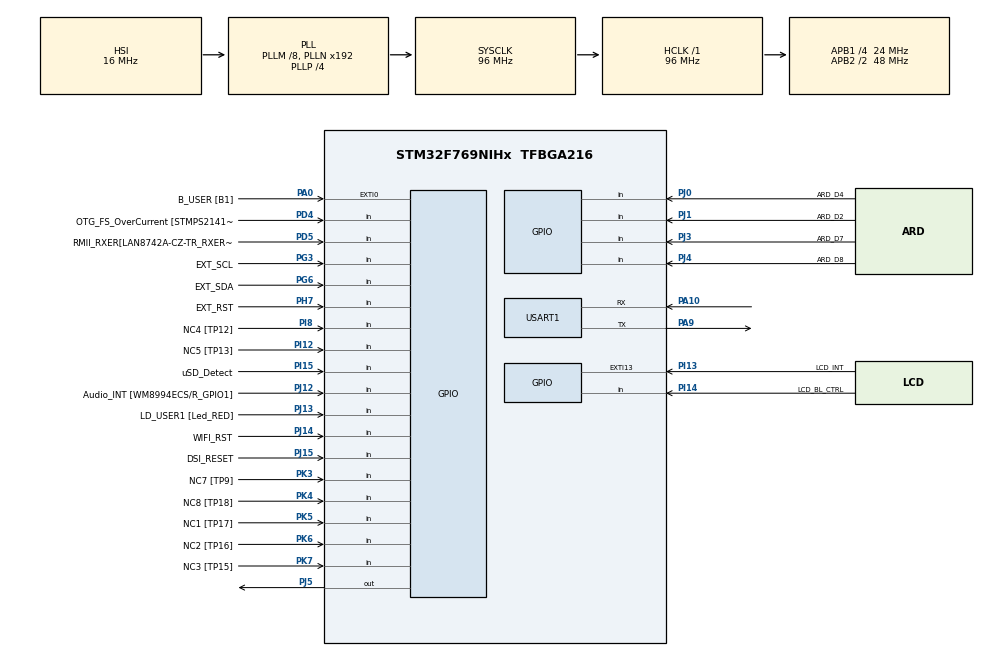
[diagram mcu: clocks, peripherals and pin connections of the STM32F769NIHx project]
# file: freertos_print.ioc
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DSIHOST_CKN.GPIO_Label=DSI_CK_N
DSIHOST_CKN.Signal=DSIHOST_CKN
DSIHOST_CKP.GPIO_Label=DSI_CK_P
DSIHOST_CKP.Signal=DSIHOST_CKP
DSIHOST_D0N.GPIO_Label=DSI_D0_N
DSIHOST_D0N.Signal=DSIHOST_D0N
DSIHOST_D0P.GPIO_Label=DSI_D0_p
DSIHOST_D0P.Signal=DSIHOST_D0P
DSIHOST_D1N.GPIO_Label=DSI_D1_N
DSIHOST_D1N.Signal=DSIHOST_D1N
DSIHOST_D1P.GPIO_Label=DSI_D1_P
DSIHOST_D1P.Signal=DSIHOST_D1P
FREERTOS.Tasks01=defaultTask,0,128,StartDefaultTask,Default,NULL
Mcu.Family=STM32F7
Mcu.Name=STM32F769NIHx
Mcu.Package=TFBGA216
NVIC.PriorityGroup=NVIC_PRIORITYGROUP_4
NVIC.TIM2_IRQn=true\:0\:0\:false\:false\:true\:false\:false\:true
NVIC.TimeBase=TIM2_IRQn
NVIC.TimeBaseIP=TIM2
PA0/WKUP.GPIO_Label=B_USER [B1]
PA0/WKUP.Signal=GPXTI0
PA1.GPIO_Label=RMII_REF_CLK [LAN8742A-CZ-TR_REFCLK0]
PA1.Signal=ETH_REF_CLK
PA10.Mode=Asynchronous
PA10.Signal=USART1_RX
PA11.GPIO_Label=SPI2_NSS
PA11.Signal=SPI2_NSS
PA12.GPIO_Label=ARD_D13/SCK
PA12.GPIO_Mode=GPIO_MODE_AF_PP
PA12.GPIO_PuPd=GPIO_NOPULL
PA12.GPIO_Speed=GPIO_SPEED_FREQ_LOW
PA12.Signal=SPI2_SCK
PA13.GPIO_Label=SWDIO
PA13.Signal=SYS_JTMS-SWDIO
PA14.GPIO_Label=SWCLK
PA14.Signal=SYS_JTCK-SWCLK
PA15.GPIO_Label=CEC
PA15.Signal=CEC
PA2.GPIO_Label=RMII_MDIO [LAN8742A-CZ-TR_MDIO]
PA2.Signal=ETH_MDIO
PA3.GPIO_Label=ULPI_D0 [USB3320C-EZK_D0]
PA3.Signal=USB_OTG_HS_ULPI_D0
PA4.GPIO_Label=ARD_A1
PA4.Signal=ADCx_IN4
PA5.GPIO_Label=ULPI_CLK [USB3320C-EZK_CLKOUT]
PA5.Signal=USB_OTG_HS_ULPI_CK
PA6.GPIO_Label=ARD_A0
PA6.Signal=ADCx_IN6
PA7.GPIO_Label=RMII_CRS_DV [LAN8742A-CZ-TR_CRS_DV]
PA7.Signal=ETH_CRS_DV
PA8.GPIO_Label=CEC_CLK [TP2]
PA8.Signal=RCC_MCO_1
PA9.Mode=Asynchronous
PA9.Signal=USART1_TX
PB0.GPIO_Label=ULPI_D1 [USB3320C-EZK_D1]
PB0.Signal=USB_OTG_HS_ULPI_D1
PB1.GPIO_Label=ULPI_D2 [USB3320C-EZK_D2]
PB1.Signal=USB_OTG_HS_ULPI_D2
PB10.GPIO_Label=ULPI_D3 [USB3320C-EZK_D3]
PB10.Signal=USB_OTG_HS_ULPI_D3
PB11.GPIO_Label=ULPI_D4 [USB3320C-EZK_D4]
PB11.Signal=USB_OTG_HS_ULPI_D4
PB12.GPIO_Label=ULPI_D5 [USB3320C-EZK_D5]
PB12.Signal=USB_OTG_HS_ULPI_D5
PB13.GPIO_Label=ULPI_D6 [USB3320C-EZK_D6]
PB13.Signal=USB_OTG_HS_ULPI_D6
PB14.GPIO_Label=ARDUINO MISO/D12
PB14.GPIO_Mode=GPIO_MODE_AF_PP
PB14.GPIO_PuPd=GPIO_NOPULL
PB14.GPIO_Speed=GPIO_SPEED_FREQ_LOW
PB14.Signal=SPI2_MISO
PB15.GPIO_Label=ARDUINO MOSI/PWM/D11
PB15.GPIO_Mode=GPIO_MODE_AF_PP
PB15.GPIO_PuPd=GPIO_NOPULL
PB15.GPIO_Speed=GPIO_SPEED_FREQ_LOW
PB15.Signal=SPI2_MOSI
PB2.Signal=QUADSPI_CLK
PB3.GPIO_Label=uSD_D2
PB3.Signal=SDMMC2_D2
PB4.GPIO_Label=uSD_D3
PB4.Signal=SDMMC2_D3
PB5.GPIO_Label=ULPI_D7 [USB3320C-EZK_D7]
PB5.Signal=USB_OTG_HS_ULPI_D7
PB6.GPIO_Label=QSPI_NCS [N25Q128A13EF840E_S]
PB6.Signal=QUADSPI_BK1_NCS
PB7.GPIO_Label=AUDIO_SDA [WM8994ECS/R_SDA]
PB7.Signal=I2C4_SDA
PB8.GPIO_Label=ARDUINO SCL/D15
PB8.GPIO_Mode=GPIO_MODE_AF_OD
PB8.GPIO_PuPd=GPIO_NOPULL
PB8.GPIO_Speed=GPIO_SPEED_FREQ_LOW
PB8.Signal=I2C1_SCL
PB9.GPIO_Label=ARDUINO SDA/D14
PB9.GPIO_Mode=GPIO_MODE_AF_OD
PB9.GPIO_PuPd=GPIO_NOPULL
PB9.GPIO_Speed=GPIO_SPEED_FREQ_LOW
PB9.Signal=I2C1_SDA
PC0.GPIO_Label=ULPI_STP [USB3320C-EZK_STP]
PC0.Signal=USB_OTG_HS_ULPI_STP
PC1.GPIO_Label=RMII_MDC [LAN8742A-CZ-TR_MDC]
PC1.Signal=ETH_MDC
PC10.GPIO_Label=QSPI_D1 [MT25QL512ABB1EW9_DQ1]
PC10.Signal=QUADSPI_BK1_IO1
PC11.GPIO_Label=DFSDM_DATIN5 [TP100]
PC11.Signal=S_DATAIN5DFSDM1
PC12.GPIO_Label=WIFI_RX
PC12.Signal=UART5_TX
PC13.Signal=RTC_OUT_ALARM
PC14/OSC32_IN.GPIO_Label=RCC_OSC32_IN
PC14/OSC32_IN.Signal=RCC_OSC32_IN
PC15/OSC32_OUT.GPIO_Label=RCC_OSC32_OUT
PC15/OSC32_OUT.Signal=RCC_OSC32_OUT
PC2.GPIO_Label=ARD_A2
PC2.Signal=ADCx_IN12
PC3.GPIO_Label=DFSDM_DATIN1 [TP101]
PC3.Signal=S_DATAIN1DFSDM1
PC4.GPIO_Label=RMII_RXD0 [LAN8742A-CZ-TR_RXD0]
PC4.Signal=ETH_RXD0
PC5.GPIO_Label=RMII_RXD1 [LAN8742A-CZ-TR_RXD1]
PC5.Signal=ETH_RXD1
PC6.GPIO_Label=ARDUINO TX/D1
PC6.Signal=USART6_TX
PC7.GPIO_Label=ARD_D0/RX
PC7.Signal=USART6_RX
PC8.GPIO_Label=ARD_D5/PWM
PC8.Signal=S_TIM3_CH3
PC9.GPIO_Label=QSPI_D0 [N25Q128A13EF840E_DQ0]
PC9.Signal=QUADSPI_BK1_IO0
PD0.GPIO_Label=FMC_D2 [MT48LC4M32B2B5-6A_DQ2]
PD0.Signal=FMC_D2_DA2
PD1.GPIO_Label=FMC_D3 [MT48LC4M32B2B5-6A_DQ3]
PD1.Signal=FMC_D3_DA3
PD10.GPIO_Label=FMC_D15 [MT48LC4M32B2B5-6A_DQ15]
PD10.Signal=FMC_D15_DA15
PD11.GPIO_Label=SPDIF_TX [TP20]
PD11.Signal=SAI2_SD_A
PD12.GPIO_Label=AUDIO_SCL [WM8994ECS/R_SCLK]
PD12.Signal=I2C4_SCL
PD13.GPIO_Label=QSPI_D3 [N25Q128A13EF840E_DQ3]
PD13.Signal=QUADSPI_BK1_IO3
PD14.GPIO_Label=FMC_D0 [MT48LC4M32B2B5-6A_DQ0]
PD14.Signal=FMC_D0_DA0
PD15.GPIO_Label=FMC_D1 [MT48LC4M32B2B5-6A_DQ1]
PD15.Signal=FMC_D1_DA1
PD2.GPIO_Label=WIFI_TX
PD2.Signal=UART5_RX
PD3.GPIO_Label=DFSDM_CKOUT [TP102]
PD3.Signal=S_CKOUTDFSDM1
PD4.GPIO_Label=OTG_FS_OverCurrent [STMPS2141STR_Fault]
PD4.Signal=GPIO_Input
PD5.GPIO_Label=RMII_RXER[LAN8742A-CZ-TR_RXERR]
PD5.Signal=GPIO_Input
PD6.GPIO_Label=uSD_CLK
PD6.Signal=SDMMC2_CK
PD7.GPIO_Label=uSD_CMD
PD7.Signal=SDMMC2_CMD
PD8.GPIO_Label=FMC_D13 [MT48LC4M32B2B5-6A_DQ13]
PD8.Signal=FMC_D13_DA13
PD9.GPIO_Label=FMC_D14 [MT48LC4M32B2B5-6A_DQ14]
PD9.Signal=FMC_D14_DA14
PE0.GPIO_Label=FMC_NBL0 [MT48LC4M32B2B5-6A_DQM0]
PE0.Signal=FMC_NBL0
PE1.GPIO_Label=FMC_NBL1 [MT48LC4M32B2B5-6A_DQM1]
PE1.Signal=FMC_NBL1
PE10.GPIO_Label=FMC_D7 [MT48LC4M32B2B5-6A_DQ7]
PE10.Signal=FMC_D7_DA7
PE11.GPIO_Label=FMC_D8 [MT48LC4M32B2B5-6A_DQ8]
PE11.Signal=FMC_D8_DA8
PE12.GPIO_Label=FMC_D9 [MT48LC4M32B2B5-6A_DQ9]
PE12.Signal=FMC_D9_DA9
PE13.GPIO_Label=FMC_D10 [MT48LC4M32B2B5-6A_DQ10]
PE13.Signal=FMC_D10_DA10
PE14.GPIO_Label=FMC_D11 [MT48LC4M32B2B5-6A_DQ11]
PE14.Signal=FMC_D11_DA11
PE15.GPIO_Label=FMC_D12 [MT48LC4M32B2B5-6A_DQ12]
PE15.Signal=FMC_D12_DA12
PE2.GPIO_Label=QSPI_D2 [N25Q128A13EF840E_DQ2]
PE2.Signal=QUADSPI_BK1_IO2
PE3.GPIO_Label=SAI1_SDB [WM8994ECS/R_ADCDAT1]
PE3.Signal=SAI1_SD_B
PE4.GPIO_Label=SAI1_FSA [WM8994ECS/R_LRCLK1]
PE4.Signal=SAI1_FS_A
PE5.GPIO_Label=SAI1_SCKA [WM8994ECS/R_BCLK1]
PE5.Signal=SAI1_SCK_A
PE6.GPIO_Label=SAI1_SDA [WM8994ECS/R_DACDAT1]
PE6.Signal=SAI1_SD_A
PE7.GPIO_Label=FMC_D4 [MT48LC4M32B2B5-6A_DQ4]
PE7.Signal=FMC_D4_DA4
PE8.GPIO_Label=FMC_D5 [MT48LC4M32B2B5-6A_DQ5]
PE8.Signal=FMC_D5_DA5
PE9.GPIO_Label=FMC_D6 [MT48LC4M32B2B5-6A_DQ6]
PE9.Signal=FMC_D6_DA6
PF0.GPIO_Label=FMC_A0 [MT48LC4M32B2B5-6A_A0]
PF0.Signal=FMC_A0
PF1.GPIO_Label=FMC_A1 [MT48LC4M32B2B5-6A_A1]
PF1.Signal=FMC_A1
PF10.GPIO_Label=ARDUINO A1
PF10.GPIO_Mode=GPIO_MODE_ANALOG
PF10.GPIO_PuPd=GPIO_NOPULL
PF10.Signal=ADC3_IN8
PF11.GPIO_Label=FMC_SDNRAS [MT48LC4M32B2B5-6A_RAS]
PF11.Signal=FMC_SDNRAS
PF12.GPIO_Label=FMC_A6 [MT48LC4M32B2B5-6A_A6]
PF12.Signal=FMC_A6
PF13.GPIO_Label=FMC_A7 [MT48LC4M32B2B5-6A_A7]
PF13.Signal=FMC_A7
PF14.GPIO_Label=FMC_A8 [MT48LC4M32B2B5-6A_A8]
PF14.Signal=FMC_A8
PF15.GPIO_Label=FMC_A9 [MT48LC4M32B2B5-6A_A9]
PF15.Signal=FMC_A9
PF2.GPIO_Label=FMC_A2 [MT48LC4M32B2B5-6A_A2]
PF2.Signal=FMC_A2
PF3.GPIO_Label=FMC_A3 [MT48LC4M32B2B5-6A_A3]
PF3.Signal=FMC_A3
PF4.GPIO_Label=FMC_A4 [MT48LC4M32B2B5-6A_A4]
PF4.Signal=FMC_A4
PF5.GPIO_Label=FMC_A5 [MT48LC4M32B2B5-6A_A5]
PF5.Signal=FMC_A5
PF6.GPIO_Label=ARD_D3/PWM
PF6.Signal=S_TIM10_CH1
PF7.GPIO_Label=ARD_D6/PWM
PF7.Signal=S_TIM11_CH1
PF8.GPIO_Label=ARDUINO A3
PF8.GPIO_Mode=GPIO_MODE_ANALOG
PF8.GPIO_PuPd=GPIO_NOPULL
PF8.Signal=ADC3_IN6
PF9.GPIO_Label=ARDUINO A2
PF9.GPIO_Mode=GPIO_MODE_ANALOG
PF9.GPIO_PuPd=GPIO_NOPULL
PF9.Signal=ADC3_IN7
PG0.GPIO_Label=FMC_A10 [MT48LC4M32B2B5-6A_A10]
PG0.Signal=FMC_A10
PG1.GPIO_Label=FMC_A11 [MT48LC4M32B2B5-6A_A11]
PG1.Signal=FMC_A11
PG10.GPIO_Label=uSD_D1
PG10.Signal=SDMMC2_D1
PG11.GPIO_Label=RMII_TX_EN [LAN8742A-CZ-TR_TXEN]
PG11.Signal=ETH_TX_EN
PG12.GPIO_Label=SPDIF_RX [74LVC1G04SE_4]
PG12.Signal=SPDIFRX_IN1
PG13.GPIO_Label=RMII_TXD0 [LAN8742A-CZ-TR_TXD0]
PG13.Signal=ETH_TXD0
PG14.GPIO_Label=RMII_TXD1 [LAN8742A-CZ-TR_TXD1]
PG14.Signal=ETH_TXD1
PG15.GPIO_Label=FMC_SDNCAS [MT48LC4M32B2B5-6A_CAS]
PG15.Signal=FMC_SDNCAS
PG2.GPIO_Label=FMC_A12
PG2.Signal=FMC_A12
PG3.GPIO_Label=EXT_SCL
PG3.Signal=GPIO_Input
PG4.GPIO_Label=FMC_BA0 [MT48LC4M32B2B5-6A_BA0]
PG4.Signal=FMC_A14_BA0
PG5.GPIO_Label=FMC_BA1 [MT48LC4M32B2B5-6A_BA1]
PG5.Signal=FMC_A15_BA1
PG6.GPIO_Label=EXT_SDA
PG6.Signal=GPIO_Input
PG7.GPIO_Label=SAI1_MCLKA [WM8994ECS/R_MCLK1]
PG7.Signal=SAI1_MCLK_A
PG8.GPIO_Label=FMC_SDCLK [MT48LC4M32B2B5-6A_CLK]
PG8.Signal=FMC_SDCLK
PG9.GPIO_Label=uSD_D0
PG9.Signal=SDMMC2_D0
PH0/OSC_IN.GPIO_Label=OSC_25M [NZ2520SB-25.00M_OUT]
PH0/OSC_IN.Signal=RCC_OSC_IN
PH1/OSC_OUT.Signal=RCC_OSC_OUT
PH10.GPIO_Label=FMC_D18 [MT48LC4M32B2B5-6A_DQ18]
PH10.Signal=FMC_D18
PH11.GPIO_Label=FMC_D19 [MT48LC4M32B2B5-6A_DQ19]
PH11.Signal=FMC_D19
PH12.GPIO_Label=D20
PH12.Signal=FMC_D20
PH13.GPIO_Label=D21
PH13.Signal=FMC_D21
PH14.GPIO_Label=D22
PH14.Signal=FMC_D22
PH15.GPIO_Label=D23
PH15.Signal=FMC_D23
PH2.GPIO_Label=FMC_SDCKE0 [MT48LC4M32B2B5-6A_CKE]
PH2.Signal=FMC_SDCKE0
PH3.GPIO_Label=FMC_SDNE0 [MT48LC4M32B2B5-6A_CS]
PH3.Signal=FMC_SDNE0
PH4.GPIO_Label=ULPI_NXT [USB3320C-EZK_NXT]
PH4.Signal=USB_OTG_HS_ULPI_NXT
PH5.GPIO_Label=FMC_SDNME [MT48LC4M32B2B5-6A_WE]
PH5.Signal=FMC_SDNWE
PH6.GPIO_Label=ARDUINO PWM/D6
PH6.Signal=S_TIM12_CH1
PH7.GPIO_Label=EXT_RST
PH7.Signal=GPIO_Input
PH8.GPIO_Label=FMC_D16 [MT48LC4M32B2B5-6A_DQ16]
PH8.Signal=FMC_D16
PH9.GPIO_Label=FMC_D\!7 [MT48LC4M32B2B5-6A_DQ17]
PH9.Signal=FMC_D17
PI0.GPIO_Label=D24
PI0.Signal=FMC_D24
PI1.GPIO_Label=D25
PI1.Signal=FMC_D25
PI10.GPIO_Label=D31
PI10.Signal=FMC_D31
PI11.GPIO_Label=ULPI_DIR [USB3320C-EZK_DIR]
PI11.Signal=USB_OTG_HS_ULPI_DIR
PI12.GPIO_Label=NC5 [TP13]
PI12.Signal=GPIO_Input
PI13.GPIO_Label=LCD_INT
PI13.GPIO_ModeDefaultEXTI=GPIO_MODE_EVT_RISING
PI13.Signal=GPXTI13
PI14.GPIO_Label=LCD_BL_CTRL
PI14.Signal=GPIO_Input
PI15.GPIO_Label=uSD_Detect
PI15.Signal=GPIO_Input
PI2.GPIO_Label=D26
PI2.Signal=FMC_D26
PI3.GPIO_Label=D27
PI3.Signal=FMC_D27
PI4.GPIO_Label=FMC_NBL2 [MT48LC4M32B2B5-6A_DQM2]
PI4.Signal=FMC_NBL2
PI5.GPIO_Label=FMC_NBL3 [MT48LC4M32B2B5-6A_DQM3]
PI5.Signal=FMC_NBL3
PI6.GPIO_Label=D28
PI6.Signal=FMC_D28
PI7.GPIO_Label=D29
PI7.Signal=FMC_D29
PI8.GPIO_Label=NC4 [TP12]
PI8.Signal=GPIO_Input
PI9.GPIO_Label=D30
PI9.Signal=FMC_D30
PJ0.GPIO_Label=ARD_D4
PJ0.Signal=GPIO_Input
PJ1.GPIO_Label=ARD_D2
PJ1.Signal=GPIO_Input
PJ12.GPIO_Label=Audio_INT [WM8994ECS/R_GPIO1]
PJ12.Signal=GPIO_Input
PJ13.GPIO_Label=LD_USER1 [Led_RED]
PJ13.Signal=GPIO_Input
PJ14.GPIO_Label=WIFI_RST
PJ14.Signal=GPIO_Input
PJ15.GPIO_Label=DSI_RESET
PJ15.Signal=GPIO_Input
PJ2.GPIO_Label=DSIHOST_TE
PJ2.Signal=DSIHOST_TE
PJ3.GPIO_Label=ARD_D7
PJ3.Signal=GPIO_Input
PJ4.GPIO_Label=ARD_D8
PJ4.Signal=GPIO_Input
PJ5.Signal=GPIO_Output
PK3.GPIO_Label=NC7 [TP9]
PK3.Signal=GPIO_Input
PK4.GPIO_Label=NC8 [TP18]
PK4.Signal=GPIO_Input
PK5.GPIO_Label=NC1 [TP17]
PK5.Signal=GPIO_Input
PK6.GPIO_Label=NC2 [TP16]
PK6.Signal=GPIO_Input
PK7.GPIO_Label=NC3 [TP15]
PK7.Signal=GPIO_Input
ProjectManager.HeapSize=0x200
ProjectManager.StackSize=0x400
ProjectManager.TargetToolchain=Makefile
RCC.AHBFreq_Value=96000000
RCC.APB1CLKDivider=RCC_HCLK_DIV4
RCC.APB1Freq_Value=24000000
RCC.APB1TimFreq_Value=48000000
RCC.APB2CLKDivider=RCC_HCLK_DIV2
RCC.APB2Freq_Value=48000000
RCC.APB2TimFreq_Value=96000000
RCC.CortexFreq_Value=96000000
RCC.HCLKFreq_Value=96000000
RCC.HSE_VALUE=25000000
RCC.HSI_VALUE=16000000
RCC.LSE_VALUE=32768
RCC.PLLM=8
RCC.PLLP=RCC_PLLP_DIV4
RCC.PLLQ=4
RCC.PLLSAIQ=3
RCC.SYSCLKFreq_VALUE=96000000
RCC.SYSCLKSource=RCC_SYSCLKSOURCE_PLLCLK
RCC.USBFreq_Value=96000000
RCC.VCOOutputFreq_Value=384000000
SH.ADCx_IN12.0=ADC1_IN12
SH.ADCx_IN4.0=ADC1_IN4
SH.ADCx_IN6.0=ADC1_IN6
SH.FMC_A0.0=FMC_A0
SH.FMC_A1.0=FMC_A1
SH.FMC_A10.0=FMC_A10
SH.FMC_A11.0=FMC_A11
SH.FMC_A12.0=FMC_A12
SH.FMC_A14_BA0.0=FMC_BA0
SH.FMC_A15_BA1.0=FMC_BA1
SH.FMC_A2.0=FMC_A2
SH.FMC_A3.0=FMC_A3
SH.FMC_A4.0=FMC_A4
SH.FMC_A5.0=FMC_A5
SH.FMC_A6.0=FMC_A6
SH.FMC_A7.0=FMC_A7
SH.FMC_A8.0=FMC_A8
SH.FMC_A9.0=FMC_A9
SH.FMC_D0_DA0.0=FMC_D0
SH.FMC_D10_DA10.0=FMC_D10
SH.FMC_D11_DA11.0=FMC_D11
SH.FMC_D12_DA12.0=FMC_D12
SH.FMC_D13_DA13.0=FMC_D13
SH.FMC_D14_DA14.0=FMC_D14
SH.FMC_D15_DA15.0=FMC_D15
SH.FMC_D16.0=FMC_D16
SH.FMC_D17.0=FMC_D17
SH.FMC_D18.0=FMC_D18
SH.FMC_D19.0=FMC_D19
SH.FMC_D1_DA1.0=FMC_D1
SH.FMC_D20.0=FMC_D20
SH.FMC_D21.0=FMC_D21
SH.FMC_D22.0=FMC_D22
SH.FMC_D23.0=FMC_D23
SH.FMC_D24.0=FMC_D24
SH.FMC_D25.0=FMC_D25
SH.FMC_D26.0=FMC_D26
SH.FMC_D27.0=FMC_D27
SH.FMC_D28.0=FMC_D28
SH.FMC_D29.0=FMC_D29
SH.FMC_D2_DA2.0=FMC_D2
SH.FMC_D30.0=FMC_D30
SH.FMC_D31.0=FMC_D31
SH.FMC_D3_DA3.0=FMC_D3
SH.FMC_D4_DA4.0=FMC_D4
SH.FMC_D5_DA5.0=FMC_D5
SH.FMC_D6_DA6.0=FMC_D6
SH.FMC_D7_DA7.0=FMC_D7
SH.FMC_D8_DA8.0=FMC_D8
SH.FMC_D9_DA9.0=FMC_D9
SH.FMC_NBL0.0=FMC_NBL0
SH.FMC_NBL1.0=FMC_NBL1
SH.FMC_NBL2.0=FMC_NBL2
SH.FMC_NBL3.0=FMC_NBL3
SH.FMC_SDCLK.0=FMC_SDCLK
SH.FMC_SDNCAS.0=FMC_SDNCAS
SH.FMC_SDNRAS.0=FMC_SDNRAS
SH.FMC_SDNWE.0=FMC_SDNWE
SH.S_CKOUTDFSDM1.0=DFSDM1_CKOUT
SH.S_DATAIN1DFSDM1.0=DFSDM1_DATIN1
SH.S_DATAIN5DFSDM1.0=DFSDM1_DATIN5
SH.S_TIM10_CH1.0=TIM10_CH1
SH.S_TIM11_CH1.0=TIM11_CH1
SH.S_TIM12_CH1.0=TIM12_CH1
SH.S_TIM3_CH3.0=TIM3_CH3
USART1.VirtualMode-Asynchronous=VM_ASYNC
VP_FREERTOS_VS_CMSIS_V1.Mode=CMSIS_V1
VP_SYS_VS_tim2.Mode=TIM2
board=32F769IDISCOVERY

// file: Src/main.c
/* USER CODE BEGIN Header */
/**
  ******************************************************************************
  * @file           : main.c
  * @brief          : Main program body
  ******************************************************************************
  * @attention
  *
  * <h2><center>&copy; Copyright (c) 2019 STMicroelectronics.
  * All rights reserved.</center></h2>
  *
  * This software component is licensed by ST under Ultimate Liberty license
  * SLA0044, the "License"; You may not use this file except in compliance with
  * the License. You may obtain a copy of the License at:
  *                             www.st.com/SLA0044
  *
  ******************************************************************************
  */
/* USER CODE END Header */

#include "main.h"
#include "cmsis_os.h"
#include "stdio.h"

/* USER CODE BEGIN PTD */
#ifdef __GNUC__
/* With GCC, small printf (option LD Linker->Libraries->Small printf
   set to 'Yes') calls __io_putchar() */
#define PUTCHAR_PROTOTYPE int __io_putchar(int ch)
#else
#define PUTCHAR_PROTOTYPE int fputc(int ch, FILE *f)
#endif /* __GNUC__ */

/* USER CODE END PTD */

UART_HandleTypeDef huart1;

osThreadId defaultTaskHandle;
/* USER CODE BEGIN PV */
float float_val = 1.23;
int int_val = 145;

/* USER CODE END PV */

void SystemClock_Config(void);
static void MX_GPIO_Init(void);
static void MX_USART1_UART_Init(void);
void StartDefaultTask(void const * argument);

/**
  * @brief  Retargets the C library printf function to the USART.
  * @param  None
  * @retval None
  */
PUTCHAR_PROTOTYPE
{
  /* Place your implementation of fputc here */
  /* e.g. write a character to the USART1 and Loop until the end of transmission */
  HAL_UART_Transmit(&huart1, (uint8_t *)&ch, 1, 0xFFFF);

  return ch;
}
/* USER CODE BEGIN 0 */
static StackType_t ucTaskStack[ 4* configMINIMAL_STACK_SIZE * sizeof( StackType_t ) ];
static osStaticThreadDef_t xmyTask;

/* Q config */
#define Q_LEN	5
struct my_data {
	  int key;
	  int val;
};
QueueHandle_t myQHandle;

enum task1_config {
	TASK1_PRIO = osPriorityNormal,
	TASK1_STACK_SZ = configMINIMAL_STACK_SIZE,
};

xTaskHandle task1Handle;
StackType_t task1_stack_buffer[TASK1_STACK_SZ];
//StaticTask_t task1_buffer[sizeof(TCB_t)];
StaticTask_t task1_buffer;

xSemaphoreHandle mySemaMutexHandle;

void task_1_hello_world(void *task1_ptr)
{
	int i = 1000;
	struct my_data rx_buf;
	while(1) {
		xQueueReceive(myQHandle, &rx_buf, 1000);
		xSemaphoreTake(mySemaMutexHandle, portMAX_DELAY);
		printf("task1: hello world: count = %d\n\r", i++);
		xSemaphoreGive(mySemaMutexHandle);
	}

	vTaskDelete(NULL);
}

/*task2 config*/
enum task2_config {
	TASK2_PRIO = osPriorityNormal,
	TASK2_STACK_SZ = configMINIMAL_STACK_SIZE,
};

xTaskHandle task2Handle;
void task2Counter_func(void *task2_arg)
{
	int i = 0;
	struct my_data rx_buf;
	while(1) {
		xQueueReceive(myQHandle, &rx_buf, 1000);
		xSemaphoreTake(mySemaMutexHandle, portMAX_DELAY);
		printf("task2: counter = %d\n\r", i++);
		xSemaphoreGive(mySemaMutexHandle);
	}

	vTaskDelete(NULL);
}

/* USER CODE END 0 */

int main(void)
{

  /* MCU Configuration--------------------------------------------------------*/

  /* Reset of all peripherals, Initializes the Flash interface and the Systick. */
  HAL_Init();

  /* Configure the system clock */
  SystemClock_Config();

  /* Initialize all configured peripherals */
  MX_GPIO_Init();
  MX_USART1_UART_Init();
  /* USER CODE BEGIN 2 */
  //{
//	  char ch = 'A';
//	  HAL_UART_Transmit(&huart1, (uint8_t *)&ch, 1, 0xFFFF);
//  }
  //printf("Hello world\n\r");
  //printf("my int number is %d\n\r", int_val);
  //printf("my float number is %f\n\r", float_val);
  /* USER CODE END 2 */

  /* Create the thread(s) */
  /* definition and creation of defaultTask */
  osThreadStaticDef(defaultTask, StartDefaultTask, osPriorityNormal, 0, 1024, ucTaskStack, &xmyTask);
  defaultTaskHandle = osThreadCreate(osThread(defaultTask), NULL);

  /* USER CODE BEGIN RTOS_THREADS */
  /* add threads, ... */
  task1Handle = xTaskCreateStatic(
		task_1_hello_world,
		"task_name_hello_world",
		TASK1_STACK_SZ,
		NULL,
		TASK1_PRIO,
		task1_stack_buffer,
		&task1_buffer
               );

  if(!task1Handle)
         printf("Not sufficient memory to create task1\n");

  BaseType_t task2_ret = xTaskCreate(
		  task2Counter_func,
		  "task2Name_counter",
		  TASK2_STACK_SZ,
		  NULL,
		  TASK2_PRIO,
		  task2Handle
		  );
  if(task2_ret != pdTRUE)
	  printf("Not sufficient memory to create task2\n");

  myQHandle = xQueueCreate(Q_LEN, sizeof(struct my_data));

  mySemaMutexHandle = xSemaphoreCreateMutex();

  /* USER CODE END RTOS_THREADS */

  /* Start scheduler */
  osKernelStart();

  /* We should never get here as control is now taken by the scheduler */

  /* Infinite loop */
  while (1)
  {

  }
}

void SystemClock_Config(void)
{
  RCC_OscInitTypeDef RCC_OscInitStruct = {0};
  RCC_ClkInitTypeDef RCC_ClkInitStruct = {0};
  RCC_PeriphCLKInitTypeDef PeriphClkInitStruct = {0};

  /** Configure the main internal regulator output voltage
  */
  __HAL_RCC_PWR_CLK_ENABLE();
  __HAL_PWR_VOLTAGESCALING_CONFIG(PWR_REGULATOR_VOLTAGE_SCALE3);
  /** Initializes the CPU, AHB and APB busses clocks
  */
  RCC_OscInitStruct.OscillatorType = RCC_OSCILLATORTYPE_HSI;
  RCC_OscInitStruct.HSIState = RCC_HSI_ON;
  RCC_OscInitStruct.HSICalibrationValue = RCC_HSICALIBRATION_DEFAULT;
  RCC_OscInitStruct.PLL.PLLState = RCC_PLL_ON;
  RCC_OscInitStruct.PLL.PLLSource = RCC_PLLSOURCE_HSI;
  RCC_OscInitStruct.PLL.PLLM = 8;
  RCC_OscInitStruct.PLL.PLLN = 192;
  RCC_OscInitStruct.PLL.PLLP = RCC_PLLP_DIV4;
  RCC_OscInitStruct.PLL.PLLQ = 4;
  if (HAL_RCC_OscConfig(&RCC_OscInitStruct) != HAL_OK)
  {
    Error_Handler();
  }
  /** Initializes the CPU, AHB and APB busses clocks
  */
  RCC_ClkInitStruct.ClockType = RCC_CLOCKTYPE_HCLK|RCC_CLOCKTYPE_SYSCLK
                              |RCC_CLOCKTYPE_PCLK1|RCC_CLOCKTYPE_PCLK2;
  RCC_ClkInitStruct.SYSCLKSource = RCC_SYSCLKSOURCE_PLLCLK;
  RCC_ClkInitStruct.AHBCLKDivider = RCC_SYSCLK_DIV1;
  RCC_ClkInitStruct.APB1CLKDivider = RCC_HCLK_DIV4;
  RCC_ClkInitStruct.APB2CLKDivider = RCC_HCLK_DIV2;

  if (HAL_RCC_ClockConfig(&RCC_ClkInitStruct, FLASH_LATENCY_3) != HAL_OK)
  {
    Error_Handler();
  }
  PeriphClkInitStruct.PeriphClockSelection = RCC_PERIPHCLK_USART1;
  PeriphClkInitStruct.Usart1ClockSelection = RCC_USART1CLKSOURCE_PCLK2;
  if (HAL_RCCEx_PeriphCLKConfig(&PeriphClkInitStruct) != HAL_OK)
  {
    Error_Handler();
  }
}

static void MX_USART1_UART_Init(void)
{

  huart1.Instance = USART1;
  huart1.Init.BaudRate = 115200;
  huart1.Init.WordLength = UART_WORDLENGTH_8B;
  huart1.Init.StopBits = UART_STOPBITS_1;
  huart1.Init.Parity = UART_PARITY_NONE;
  huart1.Init.Mode = UART_MODE_TX_RX;
  huart1.Init.HwFlowCtl = UART_HWCONTROL_NONE;
  huart1.Init.OverSampling = UART_OVERSAMPLING_16;
  huart1.Init.OneBitSampling = UART_ONE_BIT_SAMPLE_DISABLE;
  huart1.AdvancedInit.AdvFeatureInit = UART_ADVFEATURE_NO_INIT;
  if (HAL_UART_Init(&huart1) != HAL_OK)
  {
    Error_Handler();
  }

}

static void MX_GPIO_Init(void)
{
  GPIO_InitTypeDef GPIO_InitStruct = {0};

  /* GPIO Ports Clock Enable */
  __HAL_RCC_GPIOE_CLK_ENABLE();
  __HAL_RCC_GPIOG_CLK_ENABLE();
  __HAL_RCC_GPIOB_CLK_ENABLE();
  __HAL_RCC_GPIOD_CLK_ENABLE();
  __HAL_RCC_GPIOC_CLK_ENABLE();
  __HAL_RCC_GPIOA_CLK_ENABLE();
  __HAL_RCC_GPIOJ_CLK_ENABLE();
  __HAL_RCC_GPIOI_CLK_ENABLE();
  __HAL_RCC_GPIOK_CLK_ENABLE();
  __HAL_RCC_GPIOF_CLK_ENABLE();
  __HAL_RCC_GPIOH_CLK_ENABLE();

  /*Configure GPIO pin Output Level */
  HAL_GPIO_WritePin(GPIOJ, GPIO_PIN_5, GPIO_PIN_RESET);

  /*Configure GPIO pins : SAI1_FSA_Pin SAI1_SDB_Pin SAI1_SCKA_Pin SAI1_SDA_Pin */
  GPIO_InitStruct.Pin = SAI1_FSA_Pin|SAI1_SDB_Pin|SAI1_SCKA_Pin|SAI1_SDA_Pin;
  GPIO_InitStruct.Mode = GPIO_MODE_AF_PP;
  GPIO_InitStruct.Pull = GPIO_NOPULL;
  GPIO_InitStruct.Speed = GPIO_SPEED_FREQ_LOW;
  GPIO_InitStruct.Alternate = GPIO_AF6_SAI1;
  HAL_GPIO_Init(GPIOE, &GPIO_InitStruct);

  /*Configure GPIO pin : QSPI_D2_Pin */
  GPIO_InitStruct.Pin = QSPI_D2_Pin;
  GPIO_InitStruct.Mode = GPIO_MODE_AF_PP;
  GPIO_InitStruct.Pull = GPIO_NOPULL;
  GPIO_InitStruct.Speed = GPIO_SPEED_FREQ_VERY_HIGH;
  GPIO_InitStruct.Alternate = GPIO_AF9_QUADSPI;
  HAL_GPIO_Init(QSPI_D2_GPIO_Port, &GPIO_InitStruct);

  /*Configure GPIO pins : RMII_TXD1_Pin RMII_TXD0_Pin RMII_TX_EN_Pin */
  GPIO_InitStruct.Pin = RMII_TXD1_Pin|RMII_TXD0_Pin|RMII_TX_EN_Pin;
  GPIO_InitStruct.Mode = GPIO_MODE_AF_PP;
  GPIO_InitStruct.Pull = GPIO_NOPULL;
  GPIO_InitStruct.Speed = GPIO_SPEED_FREQ_VERY_HIGH;
  GPIO_InitStruct.Alternate = GPIO_AF11_ETH;
  HAL_GPIO_Init(GPIOG, &GPIO_InitStruct);

  /*Configure GPIO pins : FMC_NBL1_Pin FMC_NBL0_Pin FMC_D5_Pin FMC_D6_Pin
                           FMC_D8_Pin FMC_D11_Pin FMC_D4_Pin FMC_D7_Pin
                           FMC_D9_Pin FMC_D12_Pin FMC_D10_Pin */
  GPIO_InitStruct.Pin = FMC_NBL1_Pin|FMC_NBL0_Pin|FMC_D5_Pin|FMC_D6_Pin
                          |FMC_D8_Pin|FMC_D11_Pin|FMC_D4_Pin|FMC_D7_Pin
                          |FMC_D9_Pin|FMC_D12_Pin|FMC_D10_Pin;
  GPIO_InitStruct.Mode = GPIO_MODE_AF_PP;
  GPIO_InitStruct.Pull = GPIO_NOPULL;
  GPIO_InitStruct.Speed = GPIO_SPEED_FREQ_VERY_HIGH;
  GPIO_InitStruct.Alternate = GPIO_AF12_FMC;
  HAL_GPIO_Init(GPIOE, &GPIO_InitStruct);

  /*Configure GPIO pins : ARDUINO_SCL_D15_Pin ARDUINO_SDA_D14_Pin */
  GPIO_InitStruct.Pin = ARDUINO_SCL_D15_Pin|ARDUINO_SDA_D14_Pin;
  GPIO_InitStruct.Mode = GPIO_MODE_AF_OD;
  GPIO_InitStruct.Pull = GPIO_PULLUP;
  GPIO_InitStruct.Speed = GPIO_SPEED_FREQ_LOW;
  GPIO_InitStruct.Alternate = GPIO_AF4_I2C1;
  HAL_GPIO_Init(GPIOB, &GPIO_InitStruct);

  /*Configure GPIO pins : ULPI_D7_Pin ULPI_D6_Pin ULPI_D5_Pin ULPI_D3_Pin
                           ULPI_D2_Pin ULPI_D1_Pin ULPI_D4_Pin */
  GPIO_InitStruct.Pin = ULPI_D7_Pin|ULPI_D6_Pin|ULPI_D5_Pin|ULPI_D3_Pin
                          |ULPI_D2_Pin|ULPI_D1_Pin|ULPI_D4_Pin;
  GPIO_InitStruct.Mode = GPIO_MODE_AF_PP;
  GPIO_InitStruct.Pull = GPIO_NOPULL;
  GPIO_InitStruct.Speed = GPIO_SPEED_FREQ_VERY_HIGH;
  GPIO_InitStruct.Alternate = GPIO_AF10_OTG_HS;
  HAL_GPIO_Init(GPIOB, &GPIO_InitStruct);

  /*Configure GPIO pins : uSD_D3_Pin uSD_D2_Pin */
  GPIO_InitStruct.Pin = uSD_D3_Pin|uSD_D2_Pin;
  GPIO_InitStruct.Mode = GPIO_MODE_AF_PP;
  GPIO_InitStruct.Pull = GPIO_NOPULL;
  GPIO_InitStruct.Speed = GPIO_SPEED_FREQ_VERY_HIGH;
  GPIO_InitStruct.Alternate = GPIO_AF10_SDMMC2;
  HAL_GPIO_Init(GPIOB, &GPIO_InitStruct);

  /*Configure GPIO pins : uSD_CMD_Pin uSD_CLK_Pin */
  GPIO_InitStruct.Pin = uSD_CMD_Pin|uSD_CLK_Pin;
  GPIO_InitStruct.Mode = GPIO_MODE_AF_PP;
  GPIO_InitStruct.Pull = GPIO_NOPULL;
  GPIO_InitStruct.Speed = GPIO_SPEED_FREQ_VERY_HIGH;
  GPIO_InitStruct.Alternate = GPIO_AF11_SDMMC2;
  HAL_GPIO_Init(GPIOD, &GPIO_InitStruct);

  /*Configure GPIO pin : WIFI_RX_Pin */
  GPIO_InitStruct.Pin = WIFI_RX_Pin;
  GPIO_InitStruct.Mode = GPIO_MODE_AF_PP;
  GPIO_InitStruct.Pull = GPIO_NOPULL;
  GPIO_InitStruct.Speed = GPIO_SPEED_FREQ_VERY_HIGH;
  GPIO_InitStruct.Alternate = GPIO_AF8_UART5;
  HAL_GPIO_Init(WIFI_RX_GPIO_Port, &GPIO_InitStruct);

  /*Configure GPIO pin : CEC_Pin */
  GPIO_InitStruct.Pin = CEC_Pin;
  GPIO_InitStruct.Mode = GPIO_MODE_AF_OD;
  GPIO_InitStruct.Pull = GPIO_NOPULL;
  GPIO_InitStruct.Speed = GPIO_SPEED_FREQ_LOW;
  GPIO_InitStruct.Alternate = GPIO_AF4_CEC;
  HAL_GPIO_Init(CEC_GPIO_Port, &GPIO_InitStruct);

  /*Configure GPIO pin : AUDIO_SDA_Pin */
  GPIO_InitStruct.Pin = AUDIO_SDA_Pin;
  GPIO_InitStruct.Mode = GPIO_MODE_AF_OD;
  GPIO_InitStruct.Pull = GPIO_PULLUP;
  GPIO_InitStruct.Speed = GPIO_SPEED_FREQ_VERY_HIGH;
  GPIO_InitStruct.Alternate = GPIO_AF11_I2C4;
  HAL_GPIO_Init(AUDIO_SDA_GPIO_Port, &GPIO_InitStruct);

  /*Configure GPIO pin : QSPI_NCS_Pin */
  GPIO_InitStruct.Pin = QSPI_NCS_Pin;
  GPIO_InitStruct.Mode = GPIO_MODE_AF_PP;
  GPIO_InitStruct.Pull = GPIO_NOPULL;
  GPIO_InitStruct.Speed = GPIO_SPEED_FREQ_VERY_HIGH;
  GPIO_InitStruct.Alternate = GPIO_AF10_QUADSPI;
  HAL_GPIO_Init(QSPI_NCS_GPIO_Port, &GPIO_InitStruct);

  /*Configure GPIO pins : FMC_SDNCAS_Pin FMC_SDCLK_Pin FMC_A11_Pin FMC_A12_Pin
                           FMC_A10_Pin FMC_BA1_Pin FMC_BA0_Pin */
  GPIO_InitStruct.Pin = FMC_SDNCAS_Pin|FMC_SDCLK_Pin|FMC_A11_Pin|FMC_A12_Pin
                          |FMC_A10_Pin|FMC_BA1_Pin|FMC_BA0_Pin;
  GPIO_InitStruct.Mode = GPIO_MODE_AF_PP;
  GPIO_InitStruct.Pull = GPIO_NOPULL;
  GPIO_InitStruct.Speed = GPIO_SPEED_FREQ_VERY_HIGH;
  GPIO_InitStruct.Alternate = GPIO_AF12_FMC;
  HAL_GPIO_Init(GPIOG, &GPIO_InitStruct);

  /*Configure GPIO pins : LD_USER1_Pin Audio_INT_Pin WIFI_RST_Pin DSI_RESET_Pin
                           ARD_D8_Pin ARD_D7_Pin ARD_D4_Pin ARD_D2_Pin */
  GPIO_InitStruct.Pin = LD_USER1_Pin|Audio_INT_Pin|WIFI_RST_Pin|DSI_RESET_Pin
                          |ARD_D8_Pin|ARD_D7_Pin|ARD_D4_Pin|ARD_D2_Pin;
  GPIO_InitStruct.Mode = GPIO_MODE_INPUT;
  GPIO_InitStruct.Pull = GPIO_NOPULL;
  HAL_GPIO_Init(GPIOJ, &GPIO_InitStruct);

  /*Configure GPIO pins : FMC_D2_Pin FMC_D3_Pin FMC_D1_Pin FMC_D15_Pin
                           FMC_D0_Pin FMC_D14_Pin FMC_D13_Pin */
  GPIO_InitStruct.Pin = FMC_D2_Pin|FMC_D3_Pin|FMC_D1_Pin|FMC_D15_Pin
                          |FMC_D0_Pin|FMC_D14_Pin|FMC_D13_Pin;
  GPIO_InitStruct.Mode = GPIO_MODE_AF_PP;
  GPIO_InitStruct.Pull = GPIO_NOPULL;
  GPIO_InitStruct.Speed = GPIO_SPEED_FREQ_VERY_HIGH;
  GPIO_InitStruct.Alternate = GPIO_AF12_FMC;
  HAL_GPIO_Init(GPIOD, &GPIO_InitStruct);

  /*Configure GPIO pins : DFSDM_DATIN5_Pin DFSDM_DATIN1_Pin */
  GPIO_InitStruct.Pin = DFSDM_DATIN5_Pin|DFSDM_DATIN1_Pin;
  GPIO_InitStruct.Mode = GPIO_MODE_AF_PP;
  GPIO_InitStruct.Pull = GPIO_NOPULL;
  GPIO_InitStruct.Speed = GPIO_SPEED_FREQ_LOW;
  GPIO_InitStruct.Alternate = GPIO_AF3_DFSDM1;
  HAL_GPIO_Init(GPIOC, &GPIO_InitStruct);

  /*Configure GPIO pins : QSPI_D1_Pin QSPI_D0_Pin */
  GPIO_InitStruct.Pin = QSPI_D1_Pin|QSPI_D0_Pin;
  GPIO_InitStruct.Mode = GPIO_MODE_AF_PP;
  GPIO_InitStruct.Pull = GPIO_NOPULL;
  GPIO_InitStruct.Speed = GPIO_SPEED_FREQ_VERY_HIGH;
  GPIO_InitStruct.Alternate = GPIO_AF9_QUADSPI;
  HAL_GPIO_Init(GPIOC, &GPIO_InitStruct);

  /*Configure GPIO pin : ARD_D13_SCK_Pin */
  GPIO_InitStruct.Pin = ARD_D13_SCK_Pin;
  GPIO_InitStruct.Mode = GPIO_MODE_AF_PP;
  GPIO_InitStruct.Pull = GPIO_NOPULL;
  GPIO_InitStruct.Speed = GPIO_SPEED_FREQ_LOW;
  GPIO_InitStruct.Alternate = GPIO_AF5_SPI2;
  HAL_GPIO_Init(ARD_D13_SCK_GPIO_Port, &GPIO_InitStruct);

  /*Configure GPIO pins : NC4_Pin NC5_Pin uSD_Detect_Pin LCD_BL_CTRL_Pin */
  GPIO_InitStruct.Pin = NC4_Pin|NC5_Pin|uSD_Detect_Pin|LCD_BL_CTRL_Pin;
  GPIO_InitStruct.Mode = GPIO_MODE_INPUT;
  GPIO_InitStruct.Pull = GPIO_NOPULL;
  HAL_GPIO_Init(GPIOI, &GPIO_InitStruct);

  /*Configure GPIO pins : FMC_NBL2_Pin D27_Pin D26_Pin FMC_NBL3_Pin
                           D29_Pin D31_Pin D28_Pin D25_Pin
                           D30_Pin D24_Pin */
  GPIO_InitStruct.Pin = FMC_NBL2_Pin|D27_Pin|D26_Pin|FMC_NBL3_Pin
                          |D29_Pin|D31_Pin|D28_Pin|D25_Pin
                          |D30_Pin|D24_Pin;
  GPIO_InitStruct.Mode = GPIO_MODE_AF_PP;
  GPIO_InitStruct.Pull = GPIO_NOPULL;
  GPIO_InitStruct.Speed = GPIO_SPEED_FREQ_VERY_HIGH;
  GPIO_InitStruct.Alternate = GPIO_AF12_FMC;
  HAL_GPIO_Init(GPIOI, &GPIO_InitStruct);

  /*Configure GPIO pins : NC3_Pin NC2_Pin NC1_Pin NC8_Pin
                           NC7_Pin */
  GPIO_InitStruct.Pin = NC3_Pin|NC2_Pin|NC1_Pin|NC8_Pin
                          |NC7_Pin;
  GPIO_InitStruct.Mode = GPIO_MODE_INPUT;
  GPIO_InitStruct.Pull = GPIO_NOPULL;
  HAL_GPIO_Init(GPIOK, &GPIO_InitStruct);

  /*Configure GPIO pin : SPDIF_RX_Pin */
  GPIO_InitStruct.Pin = SPDIF_RX_Pin;
  GPIO_InitStruct.Mode = GPIO_MODE_AF_PP;
  GPIO_InitStruct.Pull = GPIO_NOPULL;
  GPIO_InitStruct.Speed = GPIO_SPEED_FREQ_LOW;
  GPIO_InitStruct.Alternate = GPIO_AF7_SPDIFRX;
  HAL_GPIO_Init(SPDIF_RX_GPIO_Port, &GPIO_InitStruct);

  /*Configure GPIO pins : uSD_D1_Pin uSD_D0_Pin */
  GPIO_InitStruct.Pin = uSD_D1_Pin|uSD_D0_Pin;
  GPIO_InitStruct.Mode = GPIO_MODE_AF_PP;
  GPIO_InitStruct.Pull = GPIO_NOPULL;
  GPIO_InitStruct.Speed = GPIO_SPEED_FREQ_VERY_HIGH;
  GPIO_InitStruct.Alternate = GPIO_AF11_SDMMC2;
  HAL_GPIO_Init(GPIOG, &GPIO_InitStruct);

  /*Configure GPIO pins : RMII_RXER_Pin OTG_FS_OverCurrent_Pin */
  GPIO_InitStruct.Pin = RMII_RXER_Pin|OTG_FS_OverCurrent_Pin;
  GPIO_InitStruct.Mode = GPIO_MODE_INPUT;
  GPIO_InitStruct.Pull = GPIO_NOPULL;
  HAL_GPIO_Init(GPIOD, &GPIO_InitStruct);

  /*Configure GPIO pin : DFSDM_CKOUT_Pin */
  GPIO_InitStruct.Pin = DFSDM_CKOUT_Pin;
  GPIO_InitStruct.Mode = GPIO_MODE_AF_PP;
  GPIO_InitStruct.Pull = GPIO_NOPULL;
  GPIO_InitStruct.Speed = GPIO_SPEED_FREQ_LOW;
  GPIO_InitStruct.Alternate = GPIO_AF3_DFSDM1;
  HAL_GPIO_Init(DFSDM_CKOUT_GPIO_Port, &GPIO_InitStruct);

  /*Configure GPIO pin : SPI2_NSS_Pin */
  GPIO_InitStruct.Pin = SPI2_NSS_Pin;
  GPIO_InitStruct.Mode = GPIO_MODE_AF_PP;
  GPIO_InitStruct.Pull = GPIO_NOPULL;
  GPIO_InitStruct.Speed = GPIO_SPEED_FREQ_VERY_HIGH;
  GPIO_InitStruct.Alternate = GPIO_AF5_SPI2;
  HAL_GPIO_Init(SPI2_NSS_GPIO_Port, &GPIO_InitStruct);

  /*Configure GPIO pins : FMC_A0_Pin FMC_A1_Pin FMC_A2_Pin FMC_A3_Pin
                           FMC_A4_Pin FMC_A5_Pin FMC_A6_Pin FMC_A9_Pin
                           FMC_A7_Pin FMC_A8_Pin FMC_SDNRAS_Pin */
  GPIO_InitStruct.Pin = FMC_A0_Pin|FMC_A1_Pin|FMC_A2_Pin|FMC_A3_Pin
                          |FMC_A4_Pin|FMC_A5_Pin|FMC_A6_Pin|FMC_A9_Pin
                          |FMC_A7_Pin|FMC_A8_Pin|FMC_SDNRAS_Pin;
  GPIO_InitStruct.Mode = GPIO_MODE_AF_PP;
  GPIO_InitStruct.Pull = GPIO_NOPULL;
  GPIO_InitStruct.Speed = GPIO_SPEED_FREQ_VERY_HIGH;
  GPIO_InitStruct.Alternate = GPIO_AF12_FMC;
  HAL_GPIO_Init(GPIOF, &GPIO_InitStruct);

  /*Configure GPIO pin : WIFI_TX_Pin */
  GPIO_InitStruct.Pin = WIFI_TX_Pin;
  GPIO_InitStruct.Mode = GPIO_MODE_AF_PP;
  GPIO_InitStruct.Pull = GPIO_NOPULL;
  GPIO_InitStruct.Speed = GPIO_SPEED_FREQ_VERY_HIGH;
  GPIO_InitStruct.Alternate = GPIO_AF8_UART5;
  HAL_GPIO_Init(WIFI_TX_GPIO_Port, &GPIO_InitStruct);

  /*Configure GPIO pins : D23_Pin D21_Pin D22_Pin FMC_SDNME_Pin
                           FMC_SDNE0_Pin FMC_SDCKE0_Pin D20_Pin FMC_D_7_Pin
                           FMC_D19_Pin FMC_D16_Pin FMC_D18_Pin */
  GPIO_InitStruct.Pin = D23_Pin|D21_Pin|D22_Pin|FMC_SDNME_Pin
                          |FMC_SDNE0_Pin|FMC_SDCKE0_Pin|D20_Pin|FMC_D_7_Pin
                          |FMC_D19_Pin|FMC_D16_Pin|FMC_D18_Pin;
  GPIO_InitStruct.Mode = GPIO_MODE_AF_PP;
  GPIO_InitStruct.Pull = GPIO_NOPULL;
  GPIO_InitStruct.Speed = GPIO_SPEED_FREQ_VERY_HIGH;
  GPIO_InitStruct.Alternate = GPIO_AF12_FMC;
  HAL_GPIO_Init(GPIOH, &GPIO_InitStruct);

  /*Configure GPIO pin : ULPI_DIR_Pin */
  GPIO_InitStruct.Pin = ULPI_DIR_Pin;
  GPIO_InitStruct.Mode = GPIO_MODE_AF_PP;
  GPIO_InitStruct.Pull = GPIO_NOPULL;
  GPIO_InitStruct.Speed = GPIO_SPEED_FREQ_VERY_HIGH;
  GPIO_InitStruct.Alternate = GPIO_AF10_OTG_HS;
  HAL_GPIO_Init(ULPI_DIR_GPIO_Port, &GPIO_InitStruct);

  /*Configure GPIO pin : CEC_CLK_Pin */
  GPIO_InitStruct.Pin = CEC_CLK_Pin;
  GPIO_InitStruct.Mode = GPIO_MODE_AF_PP;
  GPIO_InitStruct.Pull = GPIO_NOPULL;
  GPIO_InitStruct.Speed = GPIO_SPEED_FREQ_LOW;
  GPIO_InitStruct.Alternate = GPIO_AF0_MCO;
  HAL_GPIO_Init(CEC_CLK_GPIO_Port, &GPIO_InitStruct);

  /*Configure GPIO pin : LCD_INT_Pin */
  GPIO_InitStruct.Pin = LCD_INT_Pin;
  GPIO_InitStruct.Mode = GPIO_MODE_EVT_RISING;
  GPIO_InitStruct.Pull = GPIO_NOPULL;
  HAL_GPIO_Init(LCD_INT_GPIO_Port, &GPIO_InitStruct);

  /*Configure GPIO pin : ARD_D5_PWM_Pin */
  GPIO_InitStruct.Pin = ARD_D5_PWM_Pin;
  GPIO_InitStruct.Mode = GPIO_MODE_AF_PP;
  GPIO_InitStruct.Pull = GPIO_NOPULL;
  GPIO_InitStruct.Speed = GPIO_SPEED_FREQ_LOW;
  GPIO_InitStruct.Alternate = GPIO_AF2_TIM3;
  HAL_GPIO_Init(ARD_D5_PWM_GPIO_Port, &GPIO_InitStruct);

  /*Configure GPIO pins : ARD_D0_RX_Pin ARDUINO_TX_D1_Pin */
  GPIO_InitStruct.Pin = ARD_D0_RX_Pin|ARDUINO_TX_D1_Pin;
  GPIO_InitStruct.Mode = GPIO_MODE_AF_PP;
  GPIO_InitStruct.Pull = GPIO_NOPULL;
  GPIO_InitStruct.Speed = GPIO_SPEED_FREQ_VERY_HIGH;
  GPIO_InitStruct.Alternate = GPIO_AF8_USART6;
  HAL_GPIO_Init(GPIOC, &GPIO_InitStruct);

  /*Configure GPIO pin : ULPI_NXT_Pin */
  GPIO_InitStruct.Pin = ULPI_NXT_Pin;
  GPIO_InitStruct.Mode = GPIO_MODE_AF_PP;
  GPIO_InitStruct.Pull = GPIO_NOPULL;
  GPIO_InitStruct.Speed = GPIO_SPEED_FREQ_VERY_HIGH;
  GPIO_InitStruct.Alternate = GPIO_AF10_OTG_HS;
  HAL_GPIO_Init(ULPI_NXT_GPIO_Port, &GPIO_InitStruct);

  /*Configure GPIO pin : SAI1_MCLKA_Pin */
  GPIO_InitStruct.Pin = SAI1_MCLKA_Pin;
  GPIO_InitStruct.Mode = GPIO_MODE_AF_PP;
  GPIO_InitStruct.Pull = GPIO_NOPULL;
  GPIO_InitStruct.Speed = GPIO_SPEED_FREQ_LOW;
  GPIO_InitStruct.Alternate = GPIO_AF6_SAI1;
  HAL_GPIO_Init(SAI1_MCLKA_GPIO_Port, &GPIO_InitStruct);

  /*Configure GPIO pins : EXT_SDA_Pin EXT_SCL_Pin */
  GPIO_InitStruct.Pin = EXT_SDA_Pin|EXT_SCL_Pin;
  GPIO_InitStruct.Mode = GPIO_MODE_INPUT;
  GPIO_InitStruct.Pull = GPIO_NOPULL;
  HAL_GPIO_Init(GPIOG, &GPIO_InitStruct);

  /*Configure GPIO pin : ARD_D6_PWM_Pin */
  GPIO_InitStruct.Pin = ARD_D6_PWM_Pin;
  GPIO_InitStruct.Mode = GPIO_MODE_AF_PP;
  GPIO_InitStruct.Pull = GPIO_NOPULL;
  GPIO_InitStruct.Speed = GPIO_SPEED_FREQ_LOW;
  GPIO_InitStruct.Alternate = GPIO_AF3_TIM11;
  HAL_GPIO_Init(ARD_D6_PWM_GPIO_Port, &GPIO_InitStruct);

  /*Configure GPIO pin : ARD_D3_PWM_Pin */
  GPIO_InitStruct.Pin = ARD_D3_PWM_Pin;
  GPIO_InitStruct.Mode = GPIO_MODE_AF_PP;
  GPIO_InitStruct.Pull = GPIO_NOPULL;
  GPIO_InitStruct.Speed = GPIO_SPEED_FREQ_LOW;
  GPIO_InitStruct.Alternate = GPIO_AF3_TIM10;
  HAL_GPIO_Init(ARD_D3_PWM_GPIO_Port, &GPIO_InitStruct);

  /*Configure GPIO pins : ARDUINO_A1_Pin ARDUINO_A2_Pin ARDUINO_A3_Pin */
  GPIO_InitStruct.Pin = ARDUINO_A1_Pin|ARDUINO_A2_Pin|ARDUINO_A3_Pin;
  GPIO_InitStruct.Mode = GPIO_MODE_ANALOG;
  GPIO_InitStruct.Pull = GPIO_NOPULL;
  HAL_GPIO_Init(GPIOF, &GPIO_InitStruct);

  /*Configure GPIO pin : ULPI_STP_Pin */
  GPIO_InitStruct.Pin = ULPI_STP_Pin;
  GPIO_InitStruct.Mode = GPIO_MODE_AF_PP;
  GPIO_InitStruct.Pull = GPIO_NOPULL;
  GPIO_InitStruct.Speed = GPIO_SPEED_FREQ_VERY_HIGH;
  GPIO_InitStruct.Alternate = GPIO_AF10_OTG_HS;
  HAL_GPIO_Init(ULPI_STP_GPIO_Port, &GPIO_InitStruct);

  /*Configure GPIO pins : RMII_MDC_Pin RMII_RXD0_Pin RMII_RXD1_Pin */
  GPIO_InitStruct.Pin = RMII_MDC_Pin|RMII_RXD0_Pin|RMII_RXD1_Pin;
  GPIO_InitStruct.Mode = GPIO_MODE_AF_PP;
  GPIO_InitStruct.Pull = GPIO_NOPULL;
  GPIO_InitStruct.Speed = GPIO_SPEED_FREQ_VERY_HIGH;
  GPIO_InitStruct.Alternate = GPIO_AF11_ETH;
  HAL_GPIO_Init(GPIOC, &GPIO_InitStruct);

  /*Configure GPIO pin : ARD_A2_Pin */
  GPIO_InitStruct.Pin = ARD_A2_Pin;
  GPIO_InitStruct.Mode = GPIO_MODE_ANALOG;
  GPIO_InitStruct.Pull = GPIO_NOPULL;
  HAL_GPIO_Init(ARD_A2_GPIO_Port, &GPIO_InitStruct);

  /*Configure GPIO pin : PB2 */
  GPIO_InitStruct.Pin = GPIO_PIN_2;
  GPIO_InitStruct.Mode = GPIO_MODE_AF_PP;
  GPIO_InitStruct.Pull = GPIO_NOPULL;
  GPIO_InitStruct.Speed = GPIO_SPEED_FREQ_VERY_HIGH;
  GPIO_InitStruct.Alternate = GPIO_AF9_QUADSPI;
  HAL_GPIO_Init(GPIOB, &GPIO_InitStruct);

  /*Configure GPIO pin : AUDIO_SCL_Pin */
  GPIO_InitStruct.Pin = AUDIO_SCL_Pin;
  GPIO_InitStruct.Mode = GPIO_MODE_AF_OD;
  GPIO_InitStruct.Pull = GPIO_PULLUP;
  GPIO_InitStruct.Speed = GPIO_SPEED_FREQ_VERY_HIGH;
  GPIO_InitStruct.Alternate = GPIO_AF4_I2C4;
  HAL_GPIO_Init(AUDIO_SCL_GPIO_Port, &GPIO_InitStruct);

  /*Configure GPIO pin : QSPI_D3_Pin */
  GPIO_InitStruct.Pin = QSPI_D3_Pin;
  GPIO_InitStruct.Mode = GPIO_MODE_AF_PP;
  GPIO_InitStruct.Pull = GPIO_NOPULL;
  GPIO_InitStruct.Speed = GPIO_SPEED_FREQ_VERY_HIGH;
  GPIO_InitStruct.Alternate = GPIO_AF9_QUADSPI;
  HAL_GPIO_Init(QSPI_D3_GPIO_Port, &GPIO_InitStruct);

  /*Configure GPIO pin : PJ5 */
  GPIO_InitStruct.Pin = GPIO_PIN_5;
  GPIO_InitStruct.Mode = GPIO_MODE_OUTPUT_PP;
  GPIO_InitStruct.Pull = GPIO_NOPULL;
  GPIO_InitStruct.Speed = GPIO_SPEED_FREQ_LOW;
  HAL_GPIO_Init(GPIOJ, &GPIO_InitStruct);

  /*Configure GPIO pins : RMII_REF_CLK_Pin RMII_MDIO_Pin RMII_CRS_DV_Pin */
  GPIO_InitStruct.Pin = RMII_REF_CLK_Pin|RMII_MDIO_Pin|RMII_CRS_DV_Pin;
  GPIO_InitStruct.Mode = GPIO_MODE_AF_PP;
  GPIO_InitStruct.Pull = GPIO_NOPULL;
  GPIO_InitStruct.Speed = GPIO_SPEED_FREQ_VERY_HIGH;
  GPIO_InitStruct.Alternate = GPIO_AF11_ETH;
  HAL_GPIO_Init(GPIOA, &GPIO_InitStruct);

  /*Configure GPIO pin : B_USER_Pin */
  GPIO_InitStruct.Pin = B_USER_Pin;
  GPIO_InitStruct.Mode = GPIO_MODE_IT_RISING;
  GPIO_InitStruct.Pull = GPIO_NOPULL;
  HAL_GPIO_Init(B_USER_GPIO_Port, &GPIO_InitStruct);

  /*Configure GPIO pins : ARD_A1_Pin ARD_A0_Pin */
  GPIO_InitStruct.Pin = ARD_A1_Pin|ARD_A0_Pin;
  GPIO_InitStruct.Mode = GPIO_MODE_ANALOG;
  GPIO_InitStruct.Pull = GPIO_NOPULL;
  HAL_GPIO_Init(GPIOA, &GPIO_InitStruct);

  /*Configure GPIO pin : SPDIF_TX_Pin */
  GPIO_InitStruct.Pin = SPDIF_TX_Pin;
  GPIO_InitStruct.Mode = GPIO_MODE_AF_PP;
  GPIO_InitStruct.Pull = GPIO_NOPULL;
  GPIO_InitStruct.Speed = GPIO_SPEED_FREQ_LOW;
  GPIO_InitStruct.Alternate = GPIO_AF10_SAI2;
  HAL_GPIO_Init(SPDIF_TX_GPIO_Port, &GPIO_InitStruct);

  /*Configure GPIO pin : EXT_RST_Pin */
  GPIO_InitStruct.Pin = EXT_RST_Pin;
  GPIO_InitStruct.Mode = GPIO_MODE_INPUT;
  GPIO_InitStruct.Pull = GPIO_NOPULL;
  HAL_GPIO_Init(EXT_RST_GPIO_Port, &GPIO_InitStruct);

  /*Configure GPIO pins : ULPI_CLK_Pin ULPI_D0_Pin */
  GPIO_InitStruct.Pin = ULPI_CLK_Pin|ULPI_D0_Pin;
  GPIO_InitStruct.Mode = GPIO_MODE_AF_PP;
  GPIO_InitStruct.Pull = GPIO_NOPULL;
  GPIO_InitStruct.Speed = GPIO_SPEED_FREQ_VERY_HIGH;
  GPIO_InitStruct.Alternate = GPIO_AF10_OTG_HS;
  HAL_GPIO_Init(GPIOA, &GPIO_InitStruct);

  /*Configure GPIO pin : DSIHOST_TE_Pin */
  GPIO_InitStruct.Pin = DSIHOST_TE_Pin;
  GPIO_InitStruct.Mode = GPIO_MODE_AF_PP;
  GPIO_InitStruct.Pull = GPIO_NOPULL;
  GPIO_InitStruct.Speed = GPIO_SPEED_FREQ_LOW;
  GPIO_InitStruct.Alternate = GPIO_AF13_DSI;
  HAL_GPIO_Init(DSIHOST_TE_GPIO_Port, &GPIO_InitStruct);

  /*Configure GPIO pin : ARDUINO_PWM_D6_Pin */
  GPIO_InitStruct.Pin = ARDUINO_PWM_D6_Pin;
  GPIO_InitStruct.Mode = GPIO_MODE_AF_PP;
  GPIO_InitStruct.Pull = GPIO_NOPULL;
  GPIO_InitStruct.Speed = GPIO_SPEED_FREQ_LOW;
  GPIO_InitStruct.Alternate = GPIO_AF9_TIM12;
  HAL_GPIO_Init(ARDUINO_PWM_D6_GPIO_Port, &GPIO_InitStruct);

  /*Configure GPIO pins : ARDUINO_MISO_D12_Pin ARDUINO_MOSI_PWM_D11_Pin */
  GPIO_InitStruct.Pin = ARDUINO_MISO_D12_Pin|ARDUINO_MOSI_PWM_D11_Pin;
  GPIO_InitStruct.Mode = GPIO_MODE_AF_PP;
  GPIO_InitStruct.Pull = GPIO_NOPULL;
  GPIO_InitStruct.Speed = GPIO_SPEED_FREQ_LOW;
  GPIO_InitStruct.Alternate = GPIO_AF5_SPI2;
  HAL_GPIO_Init(GPIOB, &GPIO_InitStruct);

}

void StartDefaultTask(void const * argument)
{

//  printf("float is %f", float_val++);
  /* USER CODE BEGIN 5 */
  /* Infinite loop */

  struct my_data tx_buf;
  tx_buf.key = 1;
  tx_buf.val = 100;
  for(;;)
  {
	  printf("default task: my float number is %f\n\r", float_val++);
	  printf("default task: my int number is %d\n\r", int_val);
	  xQueueSend(myQHandle, &tx_buf, 0);
	  tx_buf.key++;
	  tx_buf.val += 100;
	  osDelay(1000);
  }
  /* USER CODE END 5 */
}

void HAL_TIM_PeriodElapsedCallback(TIM_HandleTypeDef *htim)
{
  if (htim->Instance == TIM2) {
    HAL_IncTick();
  }
}

void Error_Handler(void)
{
}

/************************ (C) COPYRIGHT STMicroelectronics *****END OF FILE****/
